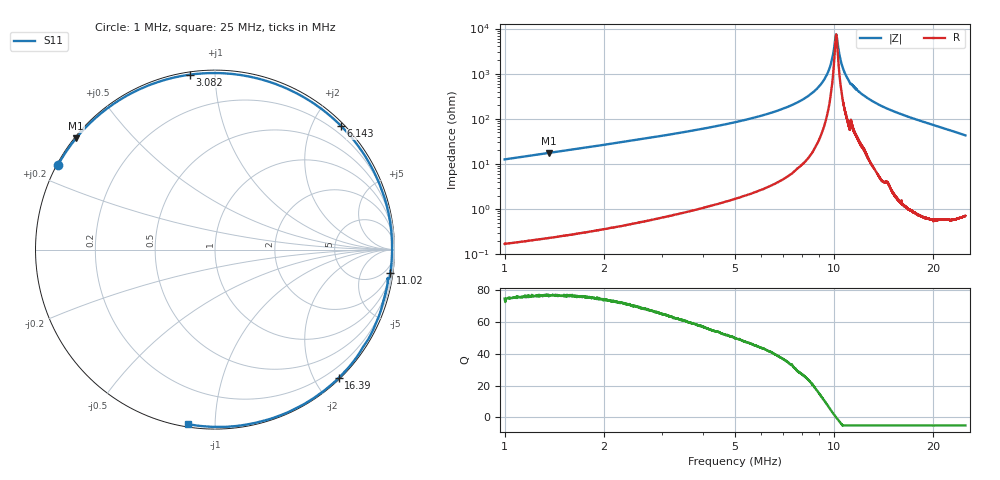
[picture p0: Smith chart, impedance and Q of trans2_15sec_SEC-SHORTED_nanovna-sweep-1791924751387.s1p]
! NanoVNA Web complex sweep
! Processing: unaveraged complex samples; linear segment spacing; no smoothing
# Hz S RI R 50
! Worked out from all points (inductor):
!   5050 points, 1 MHz to 25 MHz, reference 50 ohm
!   read as one part to ground: L = 2.02 uH near 1.119 MHz
!   highest Q = 76.6 at 1.366 MHz (marker M1), where L = 2.05 uH
!   self-resonance near 10.14 MHz
!   S11 on the Smith chart (normalised r, x): 1 MHz: 0.00, +0.25; 3.082 MHz: 0.01, +0.87; 6.143 MHz: 0.06, +2.45; 11.02 MHz: 2, -15; 16.39 MHz: 0.02, -2.35; 25 MHz: 0.01, -0.86
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1000000  -0.8747 0.4715
1365981  -0.7734 0.6211
1788998  -0.6317 0.762
2207262  -0.4761 0.8656
2635032  -0.3104 0.9361
3081814  -0.139 0.9748
3528596  0.0246 0.9833
4003896  0.1852 0.9653
4531479  0.3443 0.9201
5059062  0.4824 0.8559
5591398  0.601 0.778
6142746  0.7031 0.6882
7003039  0.8252 0.5382
7673212  0.8926 0.4186
8433692  0.9454 0.2846
9217937  0.9762 0.1496
1.000218e7  0.9866 0.0213
1.101932e7  0.9774 -0.1313
1.300132e7  0.9108 -0.3768
1.420859e7  0.8445 -0.5137
1.600047e7  0.7205 -0.6811
1.639497e7  0.6894 -0.7148
1.766877e7  0.5804 -0.8062
1.899961e7  0.4554 -0.8826
2.046829e7  0.3091 -0.9427
2.199875e7  0.1533 -0.9782
2.343891e7  0.00629 -0.9881
2.49979e7  -0.1484 -0.9726
